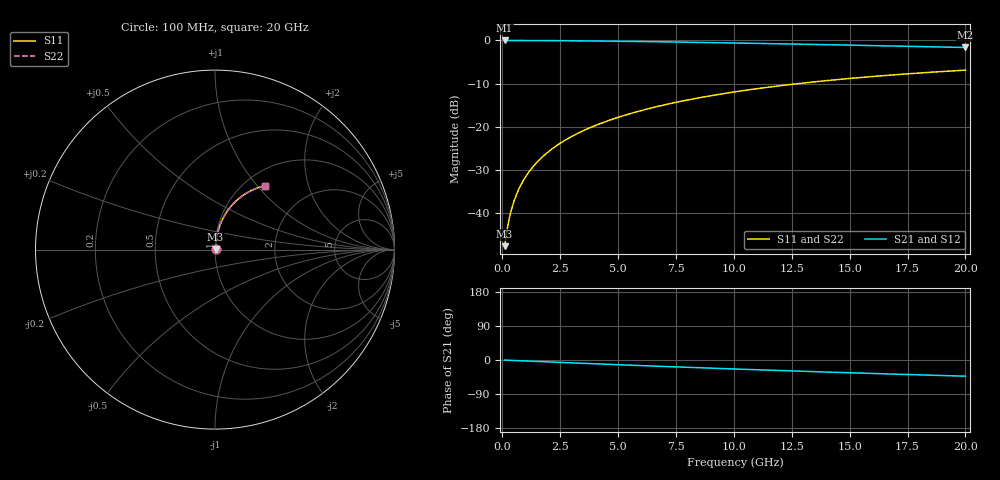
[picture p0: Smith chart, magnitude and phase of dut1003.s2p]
! Touchstone file exported from HFSS 2024.1.0
!  File:  C:/UserFiles/LocalFiles/RDL_TSV_Batchsim/temp_RDL_bottom_1003_1780050072.aedt
!  Generated:  06:23:45 PM May 29, 2026
!  Design:  RDL_bottom
!  Project:  temp_RDL_bottom_1003_1780050072
!  Setup:  Setup1
!  Solution:  Sweep
! Variables:
!  dtsv = 10.80580581um
!  hbump = 3um
!  htsv = 87.77um
!  ldown = 549um
!  lrdl = 100um
!  p = 40
!  p1 = 55.86um
!  rhole = 1um
!  t = 450um
!  tdown = 3.96um
!  trdl = 3.915915916um
!  wdown = 16.15um
!  wrdl = 20um
# GHz S MA R 50.000000
! Terminal data exported
! Port[1] = RDL1_T1
! Port[2] = RDL1_T2
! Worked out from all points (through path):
!   200 points, 100 MHz to 20 GHz, reference 50 ohm
!   highest |S21| = -0.03 dB at 100 MHz (marker M1); lowest = -1.7 dB at 20 GHz (marker M2)
!   group delay of S21, straight-line fit = 5.91 ps
!   lowest |S11| = -47.6 dB at 100 MHz (marker M3), VSWR 1.01, Z = 50.3 + j0.271 ohm
!   |S11| at or under -10 dB: start of sweep to 12.8 GHz
!   |S22| runs from -47.6 to -6.9 dB; largest |S21 - S12| = 2.3e-15
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0.1  0.004156 40.5  0.9968 -0.3  0.9968 -0.3  0.004156 40.5
! Gamma 0 0 0 0
! Port Impedance 50 0 50 0
0.2  0.006275 58.7  0.9967 -0.5  0.9967 -0.5  0.006275 58.7
0.3  0.008671 66.9  0.9966 -0.8  0.9966 -0.8  0.008671 66.9
0.4  0.01114 71.5  0.9964 -1.0  0.9964 -1.0  0.01114 71.5
0.5  0.01363 74.3  0.9963 -1.3  0.9963 -1.3  0.01363 74.3
0.6  0.01613 76.3  0.9961 -1.5  0.9961 -1.5  0.01613 76.3
0.8  0.02115 78.7  0.9958 -2.1  0.9958 -2.1  0.02115 78.7
1.1  0.02874 80.7  0.9952 -2.8  0.9952 -2.8  0.02874 80.7
1.5  0.03891 81.8  0.9943 -3.8  0.9943 -3.8  0.03892 81.8
1.8  0.04657 82.2  0.9934 -4.6  0.9934 -4.6  0.04657 82.2
2.1  0.05425 82.3  0.9924 -5.3  0.9924 -5.3  0.05425 82.3
2.7  0.06961 82.0  0.99 -6.8  0.99 -6.8  0.06962 82.0
3.5  0.09013 81.3  0.986 -8.8  0.986 -8.8  0.09013 81.3
4.2  0.1081 80.3  0.9818 -10.5  0.9818 -10.5  0.1081 80.3
5  0.1285 79.1  0.9764 -12.4  0.9764 -12.4  0.1285 79.1
5.9  0.1514 77.7  0.9696 -14.6  0.9696 -14.6  0.1514 77.7
6.8  0.1742 76.1  0.9622 -16.6  0.9622 -16.6  0.1742 76.1
8.4  0.2139 73.2  0.9479 -20.2  0.9479 -20.2  0.2139 73.2
10.1  0.2549 69.9  0.9314 -23.9  0.9314 -23.9  0.2549 69.9
13.4  0.3292 63.6  0.8973 -30.6  0.8973 -30.6  0.3292 63.7
16.7  0.3951 57.6  0.8619 -36.9  0.8619 -36.9  0.3951 57.6
20  0.4521 51.9  0.8265 -42.7  0.8265 -42.7  0.4521 51.9
